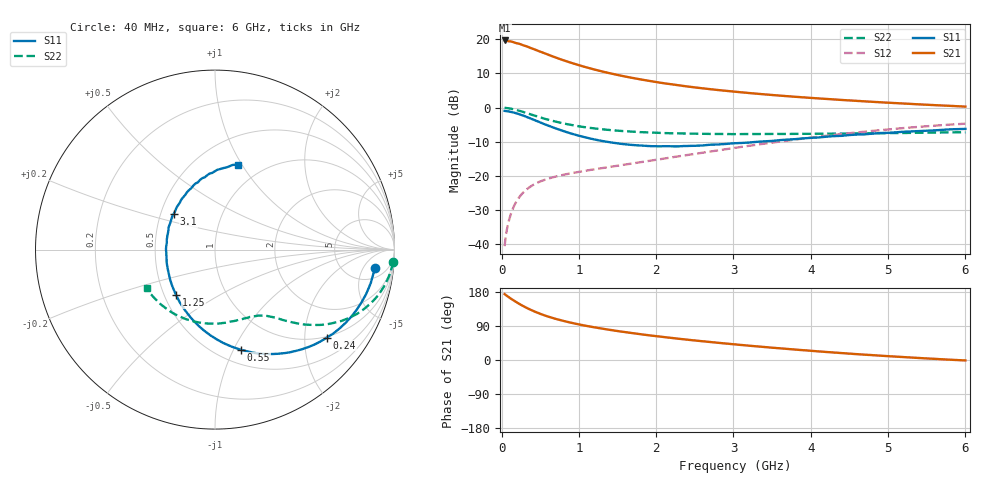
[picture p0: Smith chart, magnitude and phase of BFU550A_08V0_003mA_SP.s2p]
! Filename:  P:\Prog\Test\Noise\ATS_data\Testdata_Net\03 Spar\BFU550A_APG2013_35_C05_08p0V_003mA_SP_CM01_D.s2p
! Date/Time: Tue 16/Apr/2013 15:10:21
! BFU550A_APG2013_35_C05_08p0V_1to35mA_SP_CM01_Bias3_R.s2p
! MDIF S-parameter v. bias file
! BFU550A_APG2013_35_C05_08p0V_1to35mA_SP_CM01
! Date/time Mon Apr 15 16:50:27 2013
! VAR V_out= 8.0000
! VAR I_out= 3.0000
! VAR V_in= 0.8035
! VAR I_in= 0.0303
! Device data file deembeded for feedlines and parallel
! Original file: \03 Spar\BFU550A_APG2013_35_C05_08p0V_003mA_SP_CM01_R.s2p
! Feed-files: PR017V01_150413_Feed1.s2p, PR017V01_150413_Feed2.s2p
! Parallel-file: PR017V01_150413_Par.s2p
# MHz S MA R 50
!  Freq-MHz  S11-mag  S11-arg  S21-mag  S21-arg  S12-mag  S12-arg  S22-mag  S22-arg
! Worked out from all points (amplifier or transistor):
!   98 points, 40 MHz to 6 GHz, reference 50 ohm
!   highest |S21| = 19.7 dB at 40 MHz (marker M1)
!   |S21| within 3 dB of that: start of sweep to 469 MHz
!   unconditionally stable (mu >= 1): 1.891 GHz to 2.695 GHz
!   at 300 MHz: K = 0.28, MSG = 21.3 dB, |S12| = -24.4 dB
!   at 1.6 GHz: K = 0.96, MSG = 12.9 dB, |S12| = -16.6 dB
!   at 6 GHz: K = 0.87, MSG = 2.5 dB, |S12| = -4.7 dB
!   S11 on the Smith chart (normalised r, x): 40 MHz: 9, -9; 240 MHz: 0.97, -2.57; 550 MHz: 0.64, -1.07; 1.25 GHz: 0.58, -0.33; 3.1 GHz: 0.58, +0.26; 6 GHz: 0.77, +0.96
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40  0.8962 -6.7  9.623 174.0  0.009409 85.9  0.9936 -4.0
60  0.8901 -10.0  9.505 170.6  0.01421 83.8  0.9891 -6.1
80  0.8844 -13.4  9.469 167.8  0.0188 82.0  0.983 -8.0
120  0.8671 -19.9  9.316 162.1  0.02765 78.5  0.9665 -11.8
180  0.8344 -29.2  8.878 154.2  0.03997 73.3  0.9325 -17.2
240  0.7934 -38.2  8.525 146.9  0.05077 69.1  0.8934 -21.8
320  0.7355 -49.2  7.928 138.1  0.06298 64.3  0.837 -27.1
360  0.7067 -54.2  7.613 134.2  0.06828 62.3  0.8101 -29.3
440  0.6489 -63.7  7.027 126.8  0.0774 59.0  0.7576 -33.1
550  0.5762 -75.6  6.292 118.2  0.08726 55.6  0.6924 -37.3
650  0.5225 -84.9  5.685 111.6  0.09488 53.7  0.6464 -40.2
750  0.4758 -93.6  5.17 105.9  0.1012 52.5  0.6063 -42.4
900  0.4185 -105.7  4.539 98.4  0.1098 51.7  0.56 -45.1
1050  0.3759 -116.6  4.029 91.9  0.1174 51.8  0.5234 -47.3
1250  0.3342 -130.3  3.501 84.5  0.1279 52.4  0.49 -49.9
1550  0.2952 -149.2  2.932 75.0  0.1442 54.0  0.4566 -53.7
2050  0.272 -176.8  2.322 61.8  0.176 56.6  0.427 -60.6
2500  0.2767 162.0  1.98 51.5  0.2106 57.8  0.4164 -68.1
3100  0.3042 139.2  1.679 39.6  0.2664 57.5  0.4107 -79.5
4100  0.3666 111.2  1.365 22.7  0.3758 51.6  0.4154 -102.0
5200  0.4442 88.5  1.15 7.7  0.5032 40.3  0.4261 -129.3
6000  0.4893 75.1  1.036 -1.2  0.5827 30.4  0.4365 -150.8
